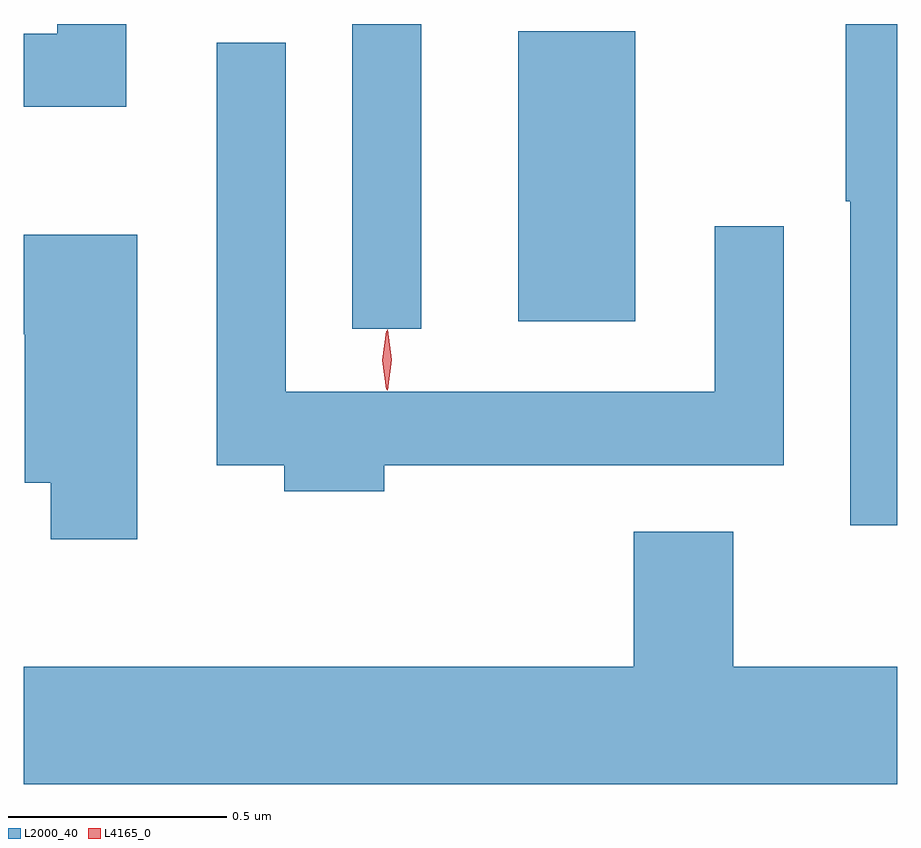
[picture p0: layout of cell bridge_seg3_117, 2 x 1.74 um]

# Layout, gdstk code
import gdstk
lib = gdstk.Library(unit=1e-6, precision=1e-09)
def R(c, l, rs):  # rectangles x0, y0, x1, y1
    for r in rs: c.add(gdstk.rectangle(r[:2], r[2:], *l))
def P(c, l, *ps):  # polygons
    for p in ps: c.add(gdstk.Polygon(p, *l))
L2000_40 = (2000, 40)
L4165_0 = (4165, 0)

bridge_seg3_117 = lib.new_cell('bridge_seg3_117')
R(bridge_seg3_117, L2000_40, [(1071.796,1229.178,1071.954,1229.876), (1072.176,1229.196,1072.444,1229.859)])
P(bridge_seg3_117, L2000_40, [(1071.279,1229.876),(1071.121,1229.876),(1071.121,1229.854),(1071.044,1229.854),(1071.044,1229.686),(1071.279,1229.686)],
  [(1073.044,1229.876),(1072.926,1229.876),(1072.926,1229.47),(1072.936,1229.47),(1072.936,1228.728),(1073.044,1228.728)],
  [(1071.869,1228.866),(1072.784,1228.866),(1072.784,1229.413),(1072.626,1229.413),(1072.626,1229.034),(1071.644,1229.034),(1071.644,1229.833),(1071.486,1229.833),(1071.486,1228.866),(1071.641,1228.866),(1071.641,1228.806),(1071.869,1228.806)],
  [(1071.304,1229.394),(1071.044,1229.394),(1071.044,1229.166),(1071.046,1229.166),(1071.046,1228.826),(1071.106,1228.826),(1071.106,1228.696),(1071.304,1228.696)],
  [(1073.044,1228.404),(1072.669,1228.404),(1072.669,1228.714),(1072.441,1228.714),(1072.441,1228.404),(1071.044,1228.404),(1071.044,1228.136),(1073.044,1228.136)])
P(bridge_seg3_117, L4165_0, [(1071.877,1229.037),(1071.876,1229.038),(1071.867,1229.107),(1071.876,1229.176),(1071.877,1229.176),(1071.878,1229.176),(1071.887,1229.107),(1071.878,1229.038)],
  [(1071.874,1229.04),(1071.874,1229.04),(1071.865,1229.106),(1071.874,1229.172),(1071.875,1229.173),(1071.875,1229.172),(1071.884,1229.106),(1071.875,1229.04)])

lib.write_gds('bridge_seg3_117.gds')
